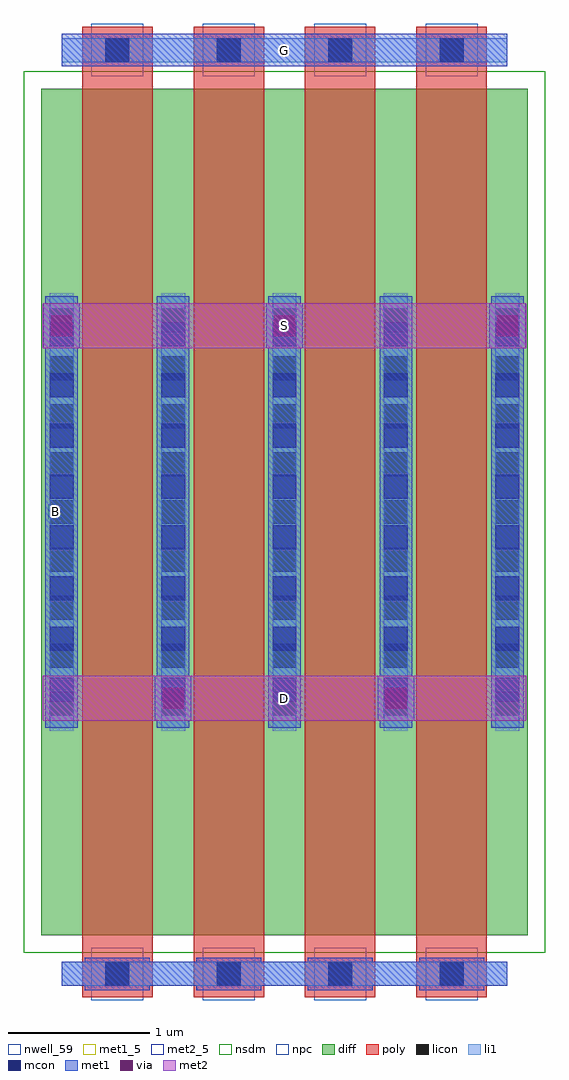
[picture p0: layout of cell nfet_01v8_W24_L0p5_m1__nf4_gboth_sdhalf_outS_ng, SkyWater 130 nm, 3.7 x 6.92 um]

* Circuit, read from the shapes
.subckt nfet_01v8_W24_L0p5_m1__nf4_gboth_sdhalf_outS_ng B D G S
XM1 D G S B sky130_fd_pr__nfet_01v8 w=6 l=0.5 m=4
.ends

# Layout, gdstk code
import gdstk
lib = gdstk.Library(unit=1e-6, precision=1e-09)
def R(c, l, rs):  # rectangles x0, y0, x1, y1
    for r in rs: c.add(gdstk.rectangle(r[:2], r[2:], *l))
def A(c, l, x, y, w, h, nx, ny, dx, dy):  # array of equal rectangles
    R(c, l, [(x+i*dx, y+j*dy, x+i*dx+w, y+j*dy+h) for i in range(nx) for j in range(ny)])
nwell_59 = (64, 59)
diff = (65, 20)
poly = (66, 20)
licon = (66, 44)
li1 = (67, 20)
mcon = (67, 44)
met1_5 = (68, 5)
met1 = (68, 20)
via = (68, 44)
met2_5 = (69, 5)
met2 = (69, 20)
nsdm = (93, 44)
npc = (95, 20)

sky130_fd_pr__nfet_01v8_ = lib.new_cell('sky130_fd_pr__nfet_01v8_SSUSS2')
R(sky130_fd_pr__nfet_01v8_, diff, [(-1.725,-3,1.725,3)])
A(sky130_fd_pr__nfet_01v8_, poly, -1.435, -3.44, 0.5, 6.88, 4, 1, 0.79, 0)
A(sky130_fd_pr__nfet_01v8_, licon, -1.27, -3.36, 0.17, 0.17, 4, 2, 0.79, 6.55)
A(sky130_fd_pr__nfet_01v8_, licon, -1.665, -1.445, 0.17, 0.17, 5, 9, 0.79, 0.34)
A(sky130_fd_pr__nfet_01v8_, li1, -1.665, -1.55, 0.17, 3.1, 5, 1, 0.79, 0)
R(sky130_fd_pr__nfet_01v8_, li1, [(-1.58,-3.36,1.58,-3.19), (-1.58,3.19,1.58,3.36)])
A(sky130_fd_pr__nfet_01v8_, mcon, -1.27, -3.36, 0.17, 0.17, 4, 2, 0.79, 6.55)
A(sky130_fd_pr__nfet_01v8_, mcon, -1.665, -1.345, 0.17, 0.17, 5, 8, 0.79, 0.36)
A(sky130_fd_pr__nfet_01v8_, met1, -1.415, -3.39, 0.46, 0.03, 4, 2, 0.79, 0.2)
A(sky130_fd_pr__nfet_01v8_, met1, -1.695, -1.53, 0.23, 3.06, 5, 1, 0.79, 0)
A(sky130_fd_pr__nfet_01v8_, met1, -1.415, 3.16, 0.46, 0.03, 4, 2, 0.79, 0.2)
R(sky130_fd_pr__nfet_01v8_, met1, [(-1.58,-3.36,1.58,-3.19), (-1.58,3.19,1.58,3.36)])
R(sky130_fd_pr__nfet_01v8_, nsdm, [(-1.85,-3.125,1.85,3.125)])
A(sky130_fd_pr__nfet_01v8_, npc, -1.37, -3.46, 0.37, 0.37, 4, 2, 0.79, 6.55)
sky130_fd_pr__nfet_01v8_.add(gdstk.Label('D0', (-1.58,0), layer=67, texttype=5))
sky130_fd_pr__nfet_01v8_.add(gdstk.Label('G', (1.185,3.275), layer=67, texttype=5))
sky130_fd_pr__nfet_01v8_.add(gdstk.Label('G', (0.395,3.275), layer=67, texttype=5))
sky130_fd_pr__nfet_01v8_.add(gdstk.Label('G', (-0.395,3.275), layer=67, texttype=5))
sky130_fd_pr__nfet_01v8_.add(gdstk.Label('G', (-1.185,3.275), layer=67, texttype=5))
sky130_fd_pr__nfet_01v8_.add(gdstk.Label('S1', (-0.79,0), layer=67, texttype=5))
sky130_fd_pr__nfet_01v8_.add(gdstk.Label('D2', (0,0), layer=67, texttype=5))
sky130_fd_pr__nfet_01v8_.add(gdstk.Label('S3', (0.79,0), layer=67, texttype=5))

nfet_01v8_w24_l0p5_m1__n = lib.new_cell('nfet_01v8_W24_L0p5_m1__nf4_gboth_sdhalf_outS_ng')
R(nfet_01v8_w24_l0p5_m1__n, nwell_59, [(0.05,3.39,0.15,3.49)])
R(nfet_01v8_w24_l0p5_m1__n, met1_5, [(0.145,6.6,3.305,6.83)])
A(nfet_01v8_w24_l0p5_m1__n, met1, 0.015, 4.6, 0.26, 0.32, 3, 1, 1.58, 0)
R(nfet_01v8_w24_l0p5_m1__n, met1, [(0.805,1.96,1.065,2.28), (2.385,1.96,2.645,2.28), (0.145,6.6,3.305,6.83)])
A(nfet_01v8_w24_l0p5_m1__n, via, 0.07, 4.685, 0.15, 0.15, 3, 1, 1.58, 0)
R(nfet_01v8_w24_l0p5_m1__n, via, [(0.86,2.045,1.01,2.195), (2.44,2.045,2.59,2.195)])
R(nfet_01v8_w24_l0p5_m1__n, met2_5, [(0.01,1.96,3.44,2.28), (0.01,4.6,3.44,4.92)])
R(nfet_01v8_w24_l0p5_m1__n, met2, [(0.01,1.96,3.44,2.28), (0.01,4.6,3.44,4.92)])
nfet_01v8_w24_l0p5_m1__n.add(gdstk.Reference(sky130_fd_pr__nfet_01v8_, (1.725,3.44)))
nfet_01v8_w24_l0p5_m1__n.add(gdstk.Label('S', (1.725,4.76), layer=69, texttype=5))
nfet_01v8_w24_l0p5_m1__n.add(gdstk.Label('D', (1.725,2.12), layer=69, texttype=5))
nfet_01v8_w24_l0p5_m1__n.add(gdstk.Label('G', (1.725,6.715), layer=68, texttype=5))
nfet_01v8_w24_l0p5_m1__n.add(gdstk.Label('B', (0.1,3.44), layer=64, texttype=59))

lib.write_gds('nfet_01v8_W24_L0p5_m1__nf4_gboth_sdhalf_outS_ng.gds')
